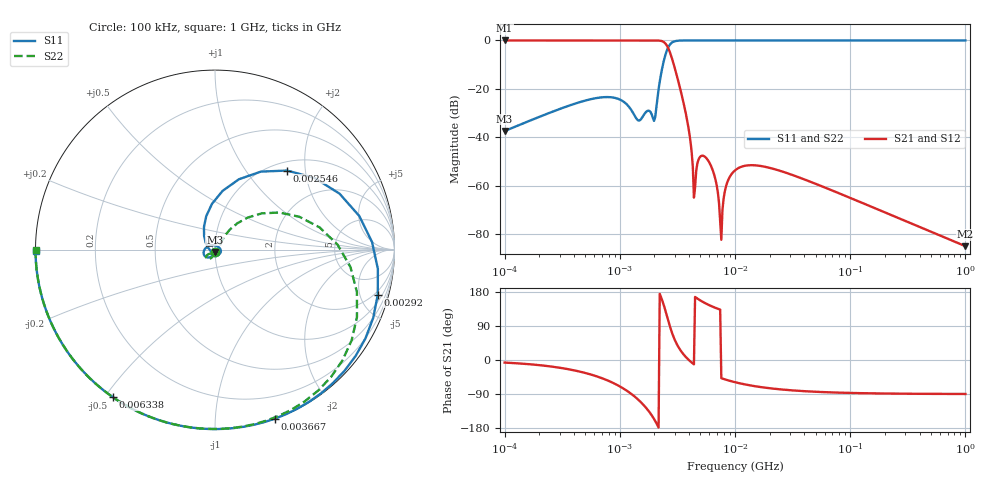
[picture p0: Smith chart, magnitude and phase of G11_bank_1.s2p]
# HZ S RI R 50
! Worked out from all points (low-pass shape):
!   405 points, 100 kHz to 1 GHz, reference 50 ohm
!   highest |S21| = 0.00 dB at 100 kHz (marker M1); lowest = -85.0 dB at 1 GHz (marker M2)
!   |S21| within 3 dB of the highest: start of sweep to 2.621 MHz
!   lowest |S11| = -37.4 dB at 100 kHz (marker M3), VSWR 1.03, Z = 49.8 - j1.33 ohm
!   |S11| at or under -10 dB: start of sweep to 2.369 MHz
!   |S22| runs from -37.4 to 0.0 dB; largest |S21 - S12| = 4.7e-16
!   S11 on the Smith chart (normalised r, x): 100 kHz: 1.00, -0.03; 2.546 MHz: 1.17, +1.60; 2.92 MHz: 1.60, -7.01; 3.667 MHz: 0.00, -1.41; 6.338 MHz: 0.00, -0.52; 1 GHz: 0.00, -0.00
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100000  -0.00182 -0.0134  0.9929 -0.1181  0.9929 -0.1181  -0.00136 -0.0134
471267.3  -0.0333 -0.0438  0.8457 -0.5308  0.8457 -0.5308  -0.025 -0.0491
933892.8  -0.0629 -0.0118  0.4252 -0.9029  0.4252 -0.9029  -0.0492 -0.041
1375986  -0.00789 0.0243  -0.1545 -0.9877  -0.1545 -0.9877  -0.0149 -0.0207
1981663  -0.0108 -0.0189  -0.9097 -0.4146  -0.9097 -0.4146  0.0214 -0.00424
2170869  -0.0608 0.077  -0.9948 -0.0268  -0.9948 -0.0268  0.0565 0.0802
2546482  0.4015 0.4403  -0.3992 0.6968  -0.3992 0.6968  0.5829 0.1237
2919756  0.907 -0.2507  0.16 0.2981  0.16 0.2981  0.7104 -0.6172
3272288  0.6572 -0.7435  0.1055 0.0639  0.1055 0.0639  0.3542 -0.927
3667384  0.3322 -0.9424  0.0383 0.00737  0.0383 0.00737  0.041 -0.9984
4017542  0.1062 -0.9943  0.012 -0.000285  0.012 -0.000285  -0.1533 -0.9881
4401132  -0.0837 -0.9965  0.000557 -0.000112  0.000557 -0.000112  -0.3083 -0.9513
5162633  -0.3414 -0.9399  -0.00377 0.00179  -0.00377 0.00179  -0.5103 -0.86
6338408  -0.5683 -0.8228  -0.00175 0.00141  -0.00175 0.00141  -0.6825 -0.7308
7606557  -0.7027 -0.7115  5.11e-05 -5.69e-05  5.11e-05 -5.69e-05  -0.7826 -0.6226
8524974  -0.7642 -0.645  0.000684 -0.000904  0.000684 -0.000904  -0.828 -0.5608
1e7  -0.8294 -0.5587  0.00108 -0.00177  0.00108 -0.00177  -0.8758 -0.4827
1.651284e7  -0.9379 -0.347  0.000828 -0.00243  0.000828 -0.00243  -0.9549 -0.2968
4.712673e7  -0.9924 -0.123  0.000132 -0.00115  0.000132 -0.00115  -0.9945 -0.1047
2.170869e8  -0.9996 -0.0268  6.44e-06 -0.00026  6.44e-06 -0.00026  -0.9997 -0.0228
5.528079e8  -0.9999 -0.0105  9.94e-07 -0.000102  9.94e-07 -0.000102  -1 -0.00894
1e9  -1 -0.00581  3.04e-07 -5.66e-05  3.04e-07 -5.66e-05  -1 -0.00494
